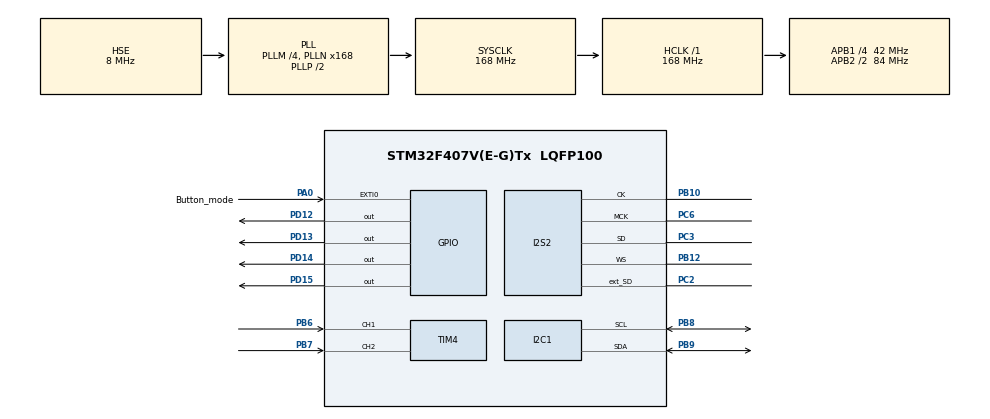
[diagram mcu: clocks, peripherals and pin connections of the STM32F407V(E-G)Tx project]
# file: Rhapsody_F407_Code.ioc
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Dma.I2S2_EXT_RX.0.Direction=DMA_PERIPH_TO_MEMORY
Dma.I2S2_EXT_RX.0.FIFOMode=DMA_FIFOMODE_DISABLE
Dma.I2S2_EXT_RX.0.Instance=DMA1_Stream3
Dma.I2S2_EXT_RX.0.MemDataAlignment=DMA_MDATAALIGN_HALFWORD
Dma.I2S2_EXT_RX.0.MemInc=DMA_MINC_ENABLE
Dma.I2S2_EXT_RX.0.Mode=DMA_CIRCULAR
Dma.I2S2_EXT_RX.0.PeriphDataAlignment=DMA_PDATAALIGN_HALFWORD
Dma.I2S2_EXT_RX.0.PeriphInc=DMA_PINC_DISABLE
Dma.I2S2_EXT_RX.0.Priority=DMA_PRIORITY_HIGH
Dma.Request0=I2S2_EXT_RX
Dma.Request1=SPI2_TX
Dma.SPI2_TX.1.Direction=DMA_MEMORY_TO_PERIPH
Dma.SPI2_TX.1.FIFOMode=DMA_FIFOMODE_DISABLE
Dma.SPI2_TX.1.Instance=DMA1_Stream4
Dma.SPI2_TX.1.MemDataAlignment=DMA_MDATAALIGN_HALFWORD
Dma.SPI2_TX.1.MemInc=DMA_MINC_ENABLE
Dma.SPI2_TX.1.Mode=DMA_CIRCULAR
Dma.SPI2_TX.1.PeriphDataAlignment=DMA_PDATAALIGN_HALFWORD
Dma.SPI2_TX.1.PeriphInc=DMA_PINC_DISABLE
Dma.SPI2_TX.1.Priority=DMA_PRIORITY_HIGH
I2C1.I2C_Mode=I2C_Standard
I2S2.AudioFreq=I2S_AUDIOFREQ_48K
I2S2.DataFormat=I2S_DATAFORMAT_24B
I2S2.ErrorAudioFreq=1.72 %
I2S2.FullDuplexMode=I2S_FULLDUPLEXMODE_ENABLE
I2S2.Instance=SPI$Index
I2S2.RealAudioFreq=48.828 KHz
I2S2.VirtualMode=I2S_MODE_MASTER
Mcu.Family=STM32F4
Mcu.Name=STM32F407V(E-G)Tx
Mcu.Package=LQFP100
NVIC.DMA1_Stream3_IRQn=true\:0\:0\:false\:false\:true\:false\:true\:true
NVIC.DMA1_Stream4_IRQn=true\:0\:0\:false\:false\:true\:false\:true\:true
NVIC.EXTI0_IRQn=true\:0\:0\:false\:false\:true\:true\:true\:true
NVIC.PriorityGroup=NVIC_PRIORITYGROUP_4
PA0-WKUP.GPIO_Label=Button_mode
PA0-WKUP.GPIO_ModeDefaultEXTI=GPIO_MODE_IT_FALLING
PA0-WKUP.Signal=GPXTI0
PA13.Mode=Serial_Wire
PA13.Signal=SYS_JTMS-SWDIO
PA14.Mode=Serial_Wire
PA14.Signal=SYS_JTCK-SWCLK
PB10.Mode=Full_Duplex_Master
PB10.Signal=I2S2_CK
PB12.Mode=Full_Duplex_Master
PB12.Signal=I2S2_WS
PB6.Signal=S_TIM4_CH1
PB7.Signal=S_TIM4_CH2
PB8.Mode=I2C
PB8.Signal=I2C1_SCL
PB9.Mode=I2C
PB9.Signal=I2C1_SDA
PC14-OSC32_IN.Mode=LSE-External-Oscillator
PC14-OSC32_IN.Signal=RCC_OSC32_IN
PC15-OSC32_OUT.Mode=LSE-External-Oscillator
PC15-OSC32_OUT.Signal=RCC_OSC32_OUT
PC2.Mode=Full_Duplex_Master
PC2.Signal=I2S2_ext_SD
PC3.Mode=Full_Duplex_Master
PC3.Signal=I2S2_SD
PC6.Mode=Master_Clock_Activated
PC6.Signal=I2S2_MCK
PD12.Signal=GPIO_Output
PD13.Signal=GPIO_Output
PD14.Signal=GPIO_Output
PD15.Signal=GPIO_Output
PH0-OSC_IN.Mode=HSE-External-Oscillator
PH0-OSC_IN.Signal=RCC_OSC_IN
PH1-OSC_OUT.Mode=HSE-External-Oscillator
PH1-OSC_OUT.Signal=RCC_OSC_OUT
ProjectManager.HeapSize=0x200
ProjectManager.StackSize=0x400
ProjectManager.TargetToolchain=STM32CubeIDE
RCC.48MHZClocksFreq_Value=84000000
RCC.AHBFreq_Value=168000000
RCC.APB1CLKDivider=RCC_HCLK_DIV4
RCC.APB1Freq_Value=42000000
RCC.APB1TimFreq_Value=84000000
RCC.APB2CLKDivider=RCC_HCLK_DIV2
RCC.APB2Freq_Value=84000000
RCC.APB2TimFreq_Value=168000000
RCC.CortexFreq_Value=168000000
RCC.EnbaleCSS=true
RCC.HCLKFreq_Value=168000000
RCC.HSE_VALUE=8000000
RCC.HSI_VALUE=16000000
RCC.PLLI2SN=50
RCC.PLLM=4
RCC.PLLN=168
RCC.PLLSourceVirtual=RCC_PLLSOURCE_HSE
RCC.SYSCLKFreq_VALUE=168000000
RCC.SYSCLKSource=RCC_SYSCLKSOURCE_PLLCLK
RCC.VCOOutputFreq_Value=336000000
SH.S_TIM4_CH1.0=TIM4_CH1,Encoder_Interface
SH.S_TIM4_CH2.0=TIM4_CH2,Encoder_Interface
TIM4.AutoReloadPreload=TIM_AUTORELOAD_PRELOAD_ENABLE
TIM4.CounterMode=TIM_COUNTERMODE_UP
TIM4.EncoderMode=TIM_ENCODERMODE_TI12
TIM4.IC1Filter=15
TIM4.IC2Filter=15
board=custom

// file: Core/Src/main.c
/* USER CODE BEGIN Header */
/**
  ******************************************************************************
  * @file           : main.c
  * @brief          : Main program body
  ******************************************************************************
  * @attention
  *
  * Copyright (c) 2023 STMicroelectronics.
  * All rights reserved.
  *
  * This software is licensed under terms that can be found in the LICENSE file
  * in the root directory of this software component.
  * If no LICENSE file comes with this software, it is provided AS-IS.
  *
  ******************************************************************************
  */
/* USER CODE END Header */
#include "main.h"

/* USER CODE BEGIN Includes */
#define ARM_MATH_CM4

#include <float.h>
#include "filter_coefficients.h"
#include "audio_out_filters.h" //Store various filters here so that bandwidth can be switched?
#include "arm_math.h"

#include "si5351.h"
/* USER CODE END Includes */

/* USER CODE BEGIN PTD */
uint32_t read_enc(void);
/* USER CODE END PTD */

/* USER CODE BEGIN PD */
#define FLOAT_MAX FLT_MAX
#define FLOAT_MIN (-FLT_MAX)

#define BLOCK_SIZE_FLOAT 512
#define BLOCK_SIZE_U16 2048
/* USER CODE END PD */

I2C_HandleTypeDef hi2c1;

I2S_HandleTypeDef hi2s2;
DMA_HandleTypeDef hdma_i2s2_ext_rx;
DMA_HandleTypeDef hdma_spi2_tx;

TIM_HandleTypeDef htim4;

/* USER CODE BEGIN PV */

arm_fir_instance_f32 firsettings_l, firsettings_r, firsettings_rl_sum;

arm_biquad_cascade_df2T_instance_f32 S;

//Measurement values: pwr, swr, voltages, currents, temperature etc...

//Mode
uint16_t mode = 0; //LSB = 0, USB = 1, TODO in future read this from  "EEPROM"
uint16_t tx_flag = 0; //tx enable = 1

//VFO variables
uint32_t vfo_a = 12e6;			//Load from memory on start
uint32_t vfo_b = 100e6;			//Load from memory on start
uint32_t tayloe_f = 120e6;  	//4x current VFO
uint16_t step = 1e3;			//Load from memory on start
uint16_t current_vfo = 0; 		//Load from memory on start

uint16_t encoderValue = 32768;
uint16_t tmp_encValue = 32768;
uint32_t last_debounce = 0;
uint32_t now_debounce = 0;

//PLL config

si5351OutputConfig_t out_conf;

si5351PLLConfig_t pll_conf;

//Volume and amplitude tuning
float rx_volume = 1;
float tx_power = 1;

float rx_amp_cal = 1;
float tx_amp_cal = 1.005;

//Filters states, sample buffers variables
//fir state size is always number_of_samples + number_of_fir_tabs - 1
float fir_l_state [BLOCK_SIZE_FLOAT + FILTER_TAP_NUM - 1];
float fir_r_state [BLOCK_SIZE_FLOAT + FILTER_TAP_NUM - 1];

float fir_rl_sum_state [BLOCK_SIZE_FLOAT + FILTER_TAP_NUM - 1];

uint16_t rxBuf[BLOCK_SIZE_U16*2];
uint16_t txBuf[BLOCK_SIZE_U16*2];
float l_buf_in [BLOCK_SIZE_FLOAT*2];
float r_buf_in [BLOCK_SIZE_FLOAT*2];
float l_buf_out [BLOCK_SIZE_FLOAT*2];
float r_buf_out [BLOCK_SIZE_FLOAT*2];

float sum_buf_rl [BLOCK_SIZE_FLOAT*2];
float audio_out [BLOCK_SIZE_FLOAT*2];

float32_t *InputValuesf32_ptr = &sum_buf_rl[0];  // declare Input pointer
float32_t *OutputValuesf32_ptr = &audio_out[0]; // declare Output pointer

uint8_t callback_state = 0;

/* USER CODE END PV */

void SystemClock_Config(void);
static void MX_GPIO_Init(void);
static void MX_DMA_Init(void);
static void MX_I2S2_Init(void);
static void MX_I2C1_Init(void);
static void MX_TIM4_Init(void);

int main(void)
{

  /* MCU Configuration--------------------------------------------------------*/

  /* Reset of all peripherals, Initializes the Flash interface and the Systick. */
  HAL_Init();

  /* Configure the system clock */
  SystemClock_Config();

  /* Initialize all configured peripherals */
  MX_GPIO_Init();
  MX_DMA_Init();
  MX_I2S2_Init();
  MX_I2C1_Init();
  MX_TIM4_Init();
  /* USER CODE BEGIN 2 */
  HAL_TIM_Encoder_Start(&htim4, TIM_CHANNEL_ALL);
  TIM4->CNT = encoderValue;

  const int32_t correction = -2e3;
  //si5351 advanced interface config for IQ
  si5351_Init(correction);

  //si5351_SetupCLK0(12e6, SI5351_DRIVE_STRENGTH_4MA);
  //si5351_SetupCLK2(12e6, SI5351_DRIVE_STRENGTH_4MA);
  //si5351_EnableOutputs((1<<0) | (1<<2));

  arm_fir_init_f32(&firsettings_l, FILTER_TAP_NUM, &filter_p45[0], &fir_l_state[0], BLOCK_SIZE_FLOAT);
  arm_fir_init_f32(&firsettings_r, FILTER_TAP_NUM, &filter_m45[0], &fir_r_state[0], BLOCK_SIZE_FLOAT);

  arm_fir_init_f32(&firsettings_rl_sum, AUDIO_FIR_LEN, &audio_out_filter24_n150[0], &fir_rl_sum_state[0], BLOCK_SIZE_FLOAT); //Works fine with 100 coefficients, 250 is too much processing wise for real time!

  //Test of IIR
  //arm_biquad_cascade_df2T_init_f32(&S, NUM_STAGE_IIR, &iirCoeffs[0], &iirState[0]);

  float32_t *InputValuesf32_ptr = &sum_buf_rl[0];  // declare Input pointer
  float32_t *OutputValuesf32_ptr = &audio_out[0]; // declare Output pointer

  HAL_NVIC_EnableIRQ(EXTI0_IRQn);

  //start i2s with 2048 samples transmission => 4096*u16 words
  HAL_I2SEx_TransmitReceive_DMA (&hi2s2, txBuf, rxBuf, BLOCK_SIZE_U16);

  int offset_r_ptr;
  int offset_w_ptr, w_ptr;

  //Test of IQ from si5351O, move later on to VFO section
  si5351_CalcIQ(vfo_a, &pll_conf, &out_conf);

  uint8_t phaseOffset = (uint8_t)out_conf.div;
  si5351_SetupOutput(0, SI5351_PLL_A, SI5351_DRIVE_STRENGTH_4MA, &out_conf, 0);
  si5351_SetupOutput(1, SI5351_PLL_A, SI5351_DRIVE_STRENGTH_4MA, &out_conf, phaseOffset);

  si5351_SetupPLL(SI5351_PLL_A, &pll_conf);
  si5351_EnableOutputs((1<<0) | (1<<1));

  VFO_set_frequency(vfo_a);

  /* USER CODE END 2 */

  /* Infinite loop */
  /* USER CODE BEGIN WHILE */
  while (1)
  {
	  //VFO_set_frequency(vfo_a); //This generates direct IQ signals for 1:4 multilex

	  //encoderValue = __HAL_TIM_GET_COUNTER(&htim4);
	  encoderValue = read_enc();
	  HAL_GPIO_TogglePin(GPIOD, GPIO_PIN_15);
	  if (callback_state != 0) {

		  //decide if it was half or cplt callback
		  if (callback_state == 1)   {
			  	  offset_r_ptr = 0;
			  	  offset_w_ptr = 0;
			  	  w_ptr = 0;
			  }

		  else if (callback_state == 2) {
			  offset_r_ptr = BLOCK_SIZE_U16;
			  offset_w_ptr = BLOCK_SIZE_FLOAT;
			  w_ptr = BLOCK_SIZE_FLOAT;
		  }

		  //restore input sample buffer to float array
		  for (int i=offset_r_ptr; i<offset_r_ptr+BLOCK_SIZE_U16; i=i+4) {
			  l_buf_in[w_ptr] = (float) ((int) (rxBuf[i]<<16)|rxBuf[i+1]);
			  r_buf_in[w_ptr] = (float) ((int) (rxBuf[i+2]<<16)|rxBuf[i+3]);
			  w_ptr++;
		  }

		if(tx_flag == 0){
		  //RX path
		  HAL_GPIO_WritePin(GPIOD, GPIO_PIN_14, GPIO_PIN_RESET);
		  //process FIR +/-45 degree Hilbert
		  //TODO investigate magnitude of these filters. Can act as LPF but below 300 Hz phase != 90.
		  arm_fir_f32 (&firsettings_l, &l_buf_in[offset_w_ptr], &l_buf_out[offset_w_ptr], BLOCK_SIZE_FLOAT);
		  arm_fir_f32 (&firsettings_r, &r_buf_in[offset_w_ptr], &r_buf_out[offset_w_ptr], BLOCK_SIZE_FLOAT);

		  arm_scale_f32(l_buf_out, rx_amp_cal, l_buf_out, 1024);

		  //summation of two signals 90 degree out of phase.

		  if(mode == 1){
			  arm_add_f32(l_buf_out, r_buf_out, sum_buf_rl, 1024);
		  }
		  else{
			  arm_sub_f32(l_buf_out, r_buf_out, sum_buf_rl, 1024);
		  }

		  //Check for overflow. TODO Potentially scale data before?, TODO check if this is necessary (arm_add might include saturation?)

		  for (uint32_t i = 0; i < BLOCK_SIZE_FLOAT; i++) {
		          if (sum_buf_rl[i] > FLOAT_MAX) {
		        	  sum_buf_rl[i] = FLOAT_MAX; // Apply saturation to prevent overflow
		          } else if (sum_buf_rl[i] < FLOAT_MIN) {
		        	  sum_buf_rl[i] = FLOAT_MIN; // Apply saturation to prevent overflow
		          }
		      }

		  arm_scale_f32(sum_buf_rl, rx_volume, sum_buf_rl, 1024);

		  //SSB audio output filter. Removes below 300 Hz to get rid off the Hilbert imperfection,
		  arm_fir_f32 (&firsettings_rl_sum, &sum_buf_rl[offset_w_ptr], &audio_out[offset_w_ptr], BLOCK_SIZE_FLOAT);

		  //IIR output filter
		  /*
		    for (uint32_t k = 0; k < NUM_BLOCKS; k++)
		    {
		    	arm_biquad_cascade_df2T_f32 (&S, InputValuesf32_ptr + (k*BLOCK_SIZE_FLOAT), OutputValuesf32_ptr + (k*BLOCK_SIZE_FLOAT), BLOCK_SIZE_FLOAT);
		    }
		    */

		  }
		  else{
			  //TX path
			  HAL_GPIO_WritePin(GPIOD, GPIO_PIN_14, GPIO_PIN_SET);
			  //Bandpass the audio
			  arm_fir_f32 (&firsettings_rl_sum, &l_buf_in[offset_w_ptr], &sum_buf_rl[offset_w_ptr], BLOCK_SIZE_FLOAT);

			  //Sets the output power, this is in voltage -3 dB is 0.701, -6 dB is 0.5 etc... this is confirmed to be working
			  arm_scale_f32(sum_buf_rl, tx_power, sum_buf_rl, BLOCK_SIZE_FLOAT*4);

			  //TODO add compressor here

			  //Create IQ
			  if(mode == 0){
				  arm_fir_f32 (&firsettings_l, &sum_buf_rl[offset_w_ptr], &audio_out[offset_w_ptr], BLOCK_SIZE_FLOAT);
			  	  arm_fir_f32 (&firsettings_r, &sum_buf_rl[offset_w_ptr], &l_buf_out[offset_w_ptr], BLOCK_SIZE_FLOAT);

			  	  arm_scale_f32(l_buf_out, tx_amp_cal, l_buf_out, BLOCK_SIZE_FLOAT*4);
			  	 // arm_scale_f32(audio_out, 1, audio_out, BLOCK_SIZE_FLOAT*4);
			  }
			  else if (mode == 1){
				  arm_fir_f32 (&firsettings_r, &sum_buf_rl[offset_w_ptr], &audio_out[offset_w_ptr], BLOCK_SIZE_FLOAT);
			  	  arm_fir_f32 (&firsettings_l, &sum_buf_rl[offset_w_ptr], &l_buf_out[offset_w_ptr], BLOCK_SIZE_FLOAT);

			  	  arm_scale_f32(l_buf_out, tx_amp_cal, l_buf_out, BLOCK_SIZE_FLOAT*4);
			  }

		  }

//TODO change the txBuf to audio output
		  //restore processed float-array to output sample-buffer
		  w_ptr = offset_w_ptr;

		  for (int i=offset_r_ptr; i<offset_r_ptr+BLOCK_SIZE_U16; i=i+4) {
				txBuf[i] =  (((int)l_buf_out[w_ptr])>>16)&0xFFFF;
				txBuf[i+1] = ((int)l_buf_out[w_ptr])&0xFFFF;
				txBuf[i+2] = (((int)audio_out[w_ptr])>>16)&0xFFFF;
				txBuf[i+3] = ((int)audio_out[w_ptr])&0xFFFF;
				w_ptr++;
		  }

		  callback_state = 0;

	  }
    /* USER CODE END WHILE */

  }
}

void SystemClock_Config(void)
{
  RCC_OscInitTypeDef RCC_OscInitStruct = {0};
  RCC_ClkInitTypeDef RCC_ClkInitStruct = {0};

  /** Configure the main internal regulator output voltage
  */
  __HAL_RCC_PWR_CLK_ENABLE();
  __HAL_PWR_VOLTAGESCALING_CONFIG(PWR_REGULATOR_VOLTAGE_SCALE1);

  /** Initializes the RCC Oscillators according to the specified parameters
  * in the RCC_OscInitTypeDef structure.
  */
  RCC_OscInitStruct.OscillatorType = RCC_OSCILLATORTYPE_HSE;
  RCC_OscInitStruct.HSEState = RCC_HSE_ON;
  RCC_OscInitStruct.PLL.PLLState = RCC_PLL_ON;
  RCC_OscInitStruct.PLL.PLLSource = RCC_PLLSOURCE_HSE;
  RCC_OscInitStruct.PLL.PLLM = 4;
  RCC_OscInitStruct.PLL.PLLN = 168;
  RCC_OscInitStruct.PLL.PLLP = RCC_PLLP_DIV2;
  RCC_OscInitStruct.PLL.PLLQ = 4;
  if (HAL_RCC_OscConfig(&RCC_OscInitStruct) != HAL_OK)
  {
    Error_Handler();
  }

  /** Initializes the CPU, AHB and APB buses clocks
  */
  RCC_ClkInitStruct.ClockType = RCC_CLOCKTYPE_HCLK|RCC_CLOCKTYPE_SYSCLK
                              |RCC_CLOCKTYPE_PCLK1|RCC_CLOCKTYPE_PCLK2;
  RCC_ClkInitStruct.SYSCLKSource = RCC_SYSCLKSOURCE_PLLCLK;
  RCC_ClkInitStruct.AHBCLKDivider = RCC_SYSCLK_DIV1;
  RCC_ClkInitStruct.APB1CLKDivider = RCC_HCLK_DIV4;
  RCC_ClkInitStruct.APB2CLKDivider = RCC_HCLK_DIV2;

  if (HAL_RCC_ClockConfig(&RCC_ClkInitStruct, FLASH_LATENCY_5) != HAL_OK)
  {
    Error_Handler();
  }

  /** Enables the Clock Security System
  */
  HAL_RCC_EnableCSS();
}

static void MX_I2C1_Init(void)
{

  hi2c1.Instance = I2C1;
  hi2c1.Init.ClockSpeed = 100000;
  hi2c1.Init.DutyCycle = I2C_DUTYCYCLE_2;
  hi2c1.Init.OwnAddress1 = 0;
  hi2c1.Init.AddressingMode = I2C_ADDRESSINGMODE_7BIT;
  hi2c1.Init.DualAddressMode = I2C_DUALADDRESS_DISABLE;
  hi2c1.Init.OwnAddress2 = 0;
  hi2c1.Init.GeneralCallMode = I2C_GENERALCALL_DISABLE;
  hi2c1.Init.NoStretchMode = I2C_NOSTRETCH_DISABLE;
  if (HAL_I2C_Init(&hi2c1) != HAL_OK)
  {
    Error_Handler();
  }

}

static void MX_I2S2_Init(void)
{

  hi2s2.Instance = SPI2;
  hi2s2.Init.Mode = I2S_MODE_MASTER_TX;
  hi2s2.Init.Standard = I2S_STANDARD_PHILIPS;
  hi2s2.Init.DataFormat = I2S_DATAFORMAT_24B;
  hi2s2.Init.MCLKOutput = I2S_MCLKOUTPUT_ENABLE;
  hi2s2.Init.AudioFreq = I2S_AUDIOFREQ_48K;
  hi2s2.Init.CPOL = I2S_CPOL_LOW;
  hi2s2.Init.ClockSource = I2S_CLOCK_PLL;
  hi2s2.Init.FullDuplexMode = I2S_FULLDUPLEXMODE_ENABLE;
  if (HAL_I2S_Init(&hi2s2) != HAL_OK)
  {
    Error_Handler();
  }

}

static void MX_TIM4_Init(void)
{

  TIM_Encoder_InitTypeDef sConfig = {0};
  TIM_MasterConfigTypeDef sMasterConfig = {0};

  htim4.Instance = TIM4;
  htim4.Init.Prescaler = 0;
  htim4.Init.CounterMode = TIM_COUNTERMODE_UP;
  htim4.Init.Period = 65535;
  htim4.Init.ClockDivision = TIM_CLOCKDIVISION_DIV1;
  htim4.Init.AutoReloadPreload = TIM_AUTORELOAD_PRELOAD_ENABLE;
  sConfig.EncoderMode = TIM_ENCODERMODE_TI12;
  sConfig.IC1Polarity = TIM_ICPOLARITY_RISING;
  sConfig.IC1Selection = TIM_ICSELECTION_DIRECTTI;
  sConfig.IC1Prescaler = TIM_ICPSC_DIV1;
  sConfig.IC1Filter = 15;
  sConfig.IC2Polarity = TIM_ICPOLARITY_RISING;
  sConfig.IC2Selection = TIM_ICSELECTION_DIRECTTI;
  sConfig.IC2Prescaler = TIM_ICPSC_DIV1;
  sConfig.IC2Filter = 15;
  if (HAL_TIM_Encoder_Init(&htim4, &sConfig) != HAL_OK)
  {
    Error_Handler();
  }
  sMasterConfig.MasterOutputTrigger = TIM_TRGO_RESET;
  sMasterConfig.MasterSlaveMode = TIM_MASTERSLAVEMODE_DISABLE;
  if (HAL_TIMEx_MasterConfigSynchronization(&htim4, &sMasterConfig) != HAL_OK)
  {
    Error_Handler();
  }

}

static void MX_DMA_Init(void)
{

  /* DMA controller clock enable */
  __HAL_RCC_DMA1_CLK_ENABLE();

  /* DMA interrupt init */
  /* DMA1_Stream3_IRQn interrupt configuration */
  HAL_NVIC_SetPriority(DMA1_Stream3_IRQn, 0, 0);
  HAL_NVIC_EnableIRQ(DMA1_Stream3_IRQn);
  /* DMA1_Stream4_IRQn interrupt configuration */
  HAL_NVIC_SetPriority(DMA1_Stream4_IRQn, 0, 0);
  HAL_NVIC_EnableIRQ(DMA1_Stream4_IRQn);

}

static void MX_GPIO_Init(void)
{
  GPIO_InitTypeDef GPIO_InitStruct = {0};

  /* GPIO Ports Clock Enable */
  __HAL_RCC_GPIOC_CLK_ENABLE();
  __HAL_RCC_GPIOH_CLK_ENABLE();
  __HAL_RCC_GPIOA_CLK_ENABLE();
  __HAL_RCC_GPIOB_CLK_ENABLE();
  __HAL_RCC_GPIOD_CLK_ENABLE();

  /*Configure GPIO pin Output Level */
  HAL_GPIO_WritePin(GPIOD, GPIO_PIN_12|GPIO_PIN_13|GPIO_PIN_14|GPIO_PIN_15, GPIO_PIN_RESET);

  /*Configure GPIO pin : Button_mode_Pin */
  GPIO_InitStruct.Pin = Button_mode_Pin;
  GPIO_InitStruct.Mode = GPIO_MODE_IT_FALLING;
  GPIO_InitStruct.Pull = GPIO_NOPULL;
  HAL_GPIO_Init(Button_mode_GPIO_Port, &GPIO_InitStruct);

  /*Configure GPIO pins : PD12 PD13 PD14 PD15 */
  GPIO_InitStruct.Pin = GPIO_PIN_12|GPIO_PIN_13|GPIO_PIN_14|GPIO_PIN_15;
  GPIO_InitStruct.Mode = GPIO_MODE_OUTPUT_PP;
  GPIO_InitStruct.Pull = GPIO_NOPULL;
  GPIO_InitStruct.Speed = GPIO_SPEED_FREQ_LOW;
  HAL_GPIO_Init(GPIOD, &GPIO_InitStruct);

  /* EXTI interrupt init*/
  HAL_NVIC_SetPriority(EXTI0_IRQn, 0, 0);
  HAL_NVIC_EnableIRQ(EXTI0_IRQn);

}

/* USER CODE BEGIN 4 */
uint32_t read_enc(void){
	//Changes frequency of LO based on vfo knob
	now_debounce = HAL_GetTick();
	if(now_debounce - last_debounce >= 300){
		last_debounce = now_debounce;

	encoderValue = TIM4->CNT;

	if(encoderValue > tmp_encValue){
		//Encoder moved left
        if (current_vfo == 0) {
        	vfo_a += step;
        	VFO_set_frequency(vfo_a);
            //si5351_SetupCLK0(vfo_a, SI5351_DRIVE_STRENGTH_4MA);		//TODO add 4* after debugging
        } else {
        	vfo_b += step;
        	VFO_set_frequency(vfo_b);
            //si5351_SetupCLK0(vfo_b, SI5351_DRIVE_STRENGTH_4MA);
        }
	}
	if(encoderValue < tmp_encValue){
		//Encoder moved right
        if (current_vfo == 0) {
        	vfo_a -= step;
        	VFO_set_frequency(vfo_a);
            //si5351_SetupCLK0(vfo_a, SI5351_DRIVE_STRENGTH_4MA);
        } else {
        	vfo_a -= step;
        	VFO_set_frequency(vfo_b);
            //si5351_SetupCLK0(vfo_b, SI5351_DRIVE_STRENGTH_4MA);
        }

	}

	encoderValue = 32768;
	tmp_encValue = 32768;
	TIM4->CNT = 32768;
	}
}

void VFO_set_frequency(uint32_t rx_frequency){ //Generates local IQ as the VFO for the dectector and encoder
	si5351_CalcIQ(rx_frequency, &pll_conf, &out_conf);

	uint8_t phaseOffset = (uint8_t)out_conf.div;
	si5351_SetupOutput(0, SI5351_PLL_A, SI5351_DRIVE_STRENGTH_4MA, &out_conf, 0);
	si5351_SetupOutput(1, SI5351_PLL_A, SI5351_DRIVE_STRENGTH_4MA, &out_conf, phaseOffset);

	si5351_SetupPLL(SI5351_PLL_A, &pll_conf);
	si5351_EnableOutputs((1<<0) | (1<<1));
}

void HAL_I2SEx_TxRxHalfCpltCallback(I2S_HandleTypeDef *hi2s){

	callback_state = 1;

}

void HAL_I2SEx_TxRxCpltCallback(I2S_HandleTypeDef *hi2s){

	callback_state = 2;

}

void HAL_GPIO_EXTI_Callback(uint16_t GPIO_Pin)
{
  if(GPIO_Pin == Button_mode_Pin) {
	  HAL_GPIO_TogglePin(GPIOD, GPIO_PIN_13);
	  mode = (mode == 0) ? 1 : 0;
	  //HAL_Delay(50);
  } else {
      __NOP();
  }
}

/* USER CODE END 4 */

void Error_Handler(void)
{
  __disable_irq();
  while (1)
  {
  }
}
